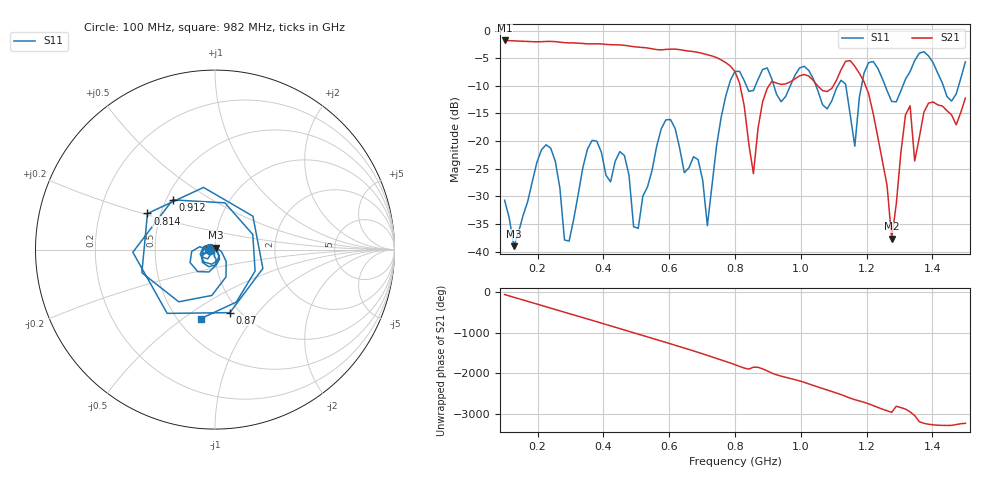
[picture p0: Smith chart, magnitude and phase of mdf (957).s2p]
! NanoVNA-App
! Date: 2025-09-25 15:45:52
! Start: 100MHz Stop: 1,5GHz Points: 101
! S-Parameter data: F S11 S21 S12 S22
# Hz S RI R 50
!  Frequency  S11_Real  S11_Imag  S21_Real  S21_Imag  S12_Real  S12_Imag  S22_Real  S22_Imag
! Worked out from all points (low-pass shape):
!   101 points, 100 MHz to 1.5 GHz, reference 50 ohm
!   highest |S21| = -1.80 dB at 100 MHz (marker M1); lowest = -37.7 dB at 1.276 GHz (marker M2)
!   |S21| within 3 dB of the highest: start of sweep to 739.4 MHz
!   lowest |S11| = -39.0 dB at 128 MHz (marker M3), VSWR 1.02, Z = 50.3 + j1.07 ohm
!   |S11| at or under -10 dB: start of sweep to 781.1 MHz; 918.3 MHz to 968.1 MHz (49.84 MHz wide, 5.28 % of centre); 1.046 GHz to 1.113 GHz (66.55 MHz wide, 6.17 % of centre) (the widest 3 of 7)
!   S12 and S22 are empty: the file has one direction only
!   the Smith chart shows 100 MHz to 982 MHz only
!   S11 on the Smith chart (normalised r, x): 100 MHz: 0.94, -0.01; 814 MHz: 0.42, +0.21; 870 MHz: 0.90, -0.73; 912 MHz: 0.54, +0.35; 982 MHz: 0.64, -0.59
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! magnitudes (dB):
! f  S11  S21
! 100 MHz  -30.7  -1.8
! 128 MHz  -39.0  -1.9
! 212 MHz  -21.6  -2.0
! 282 MHz  -37.9  -2.2
! 338 MHz  -24.7  -2.3
! 464 MHz  -22.6  -2.7
! 506 MHz  -35.8  -3.0
! 576 MHz  -17.8  -3.5
! 716 MHz  -35.3  -4.4
! 800 MHz  -7.4  -7.4
! 814 MHz  -7.4  -9.5
! 856 MHz  -10.9  -25.9
! 870 MHz  -8.9  -17.7
! 912 MHz  -8.8  -9.2
! 982 MHz  -8.1  -8.8
! 1.038 GHz  -8.7  -9.0
! 1.164 GHz  -20.9  -6.5
! 1.192 GHz  -7.7  -9.3
! 1.276 GHz  -12.8  -37.7
! 1.332 GHz  -7.4  -13.6
! 1.346 GHz  -5.4  -23.6
! 1.5 GHz  -5.7  -12.2
